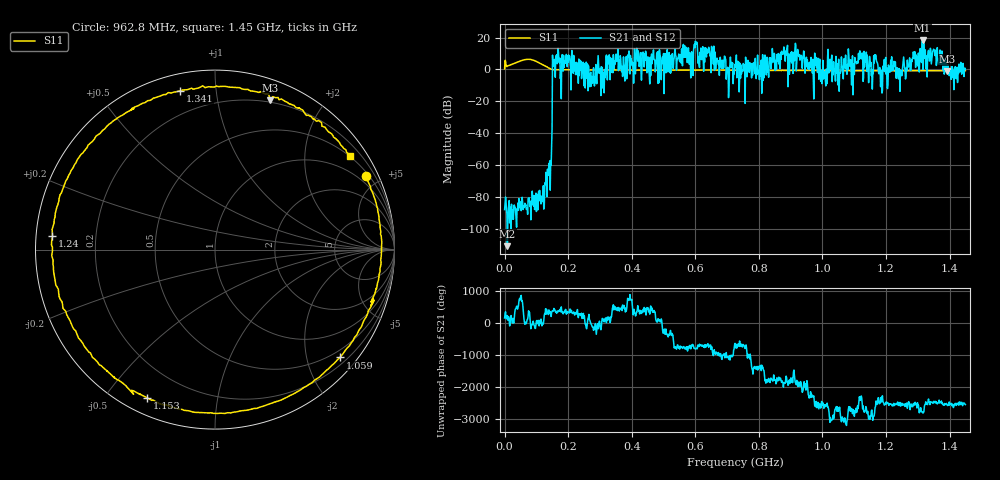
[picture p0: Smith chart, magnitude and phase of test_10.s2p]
! Created with skrf 1.11.0 (http://scikit-rf.org).
# Hz S RI R 50.0
!freq ReS11 ImS11 ReS21 ImS21 ReS12 ImS12 ReS22 ImS22
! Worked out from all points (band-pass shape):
!   1001 points, 50 kHz to 1.45 GHz, reference 50 ohm
!   highest |S21| = 18.22 dB at 1.315 GHz (marker M1); lowest = -111.0 dB at 8.75 MHz (marker M2)
!   |S21| within 3 dB of the highest: 599.4 MHz to 606.3 MHz (6.911 MHz wide, 1.15 % of centre); 1.313414 GHz to 1.315393 GHz (1.979 MHz wide, 0.151 % of centre) (the widest 2 of 6)
!   lowest |S11| = -1.0 dB at 1.392 GHz (marker M3), VSWR 16.67, Z = 9.13 + j71.1 ohm
!   |S11| at or under -10 dB: nowhere
!   |S22| runs from - to - dB; largest |S21 - S12| = 0
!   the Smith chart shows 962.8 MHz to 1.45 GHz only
!   S11 on the Smith chart (normalised r, x): 962.8 MHz: 0.65, +4.27; 1.059 GHz: 0.34, -2.65; 1.153 GHz: 0.07, -0.64; 1.24 GHz: 0.05, +0.04; 1.341 GHz: 0.08, +0.80; 1.45 GHz: 0.48, +3.12
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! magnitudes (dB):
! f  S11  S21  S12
! 50 kHz  0.3  -88.0  -88.0
! 8.75 MHz  2.2  -111.0  -111.0
! 118.9 MHz  3.1  -83.0  -83.0
! 140.7 MHz  0.7  -59.6  -59.6
! 158.1 MHz  -0.1  4.6  4.6
! 242.2 MHz  -0.2  -5.7  -5.7
! 484.3 MHz  -0.4  11.0  11.0
! 601.8 MHz  -0.5  16.6  16.6
! 725 MHz  -0.5  3.2  3.2
! 809.1 MHz  -0.6  -15.0  -15.0
! 883.1 MHz  -0.6  5.2  5.2
! 962.8 MHz  -0.6  1.6  1.6
! 967.2 MHz  -0.6  1.8  1.8
! 1.059 GHz  -0.7  -0.3  -0.3
! 1.119 GHz  -0.8  10.0  10.0
! 1.153 GHz  -0.8  4.4  4.4
! 1.209 GHz  -0.9  1.7  1.7
! 1.24 GHz  -0.8  -5.9  -5.9
! 1.315 GHz  -0.8  18.2  18.2
! 1.341 GHz  -0.9  11.9  11.9
! 1.392 GHz  -1.0  2.9  2.9
! 1.45 GHz  -0.8  0.1  0.1
